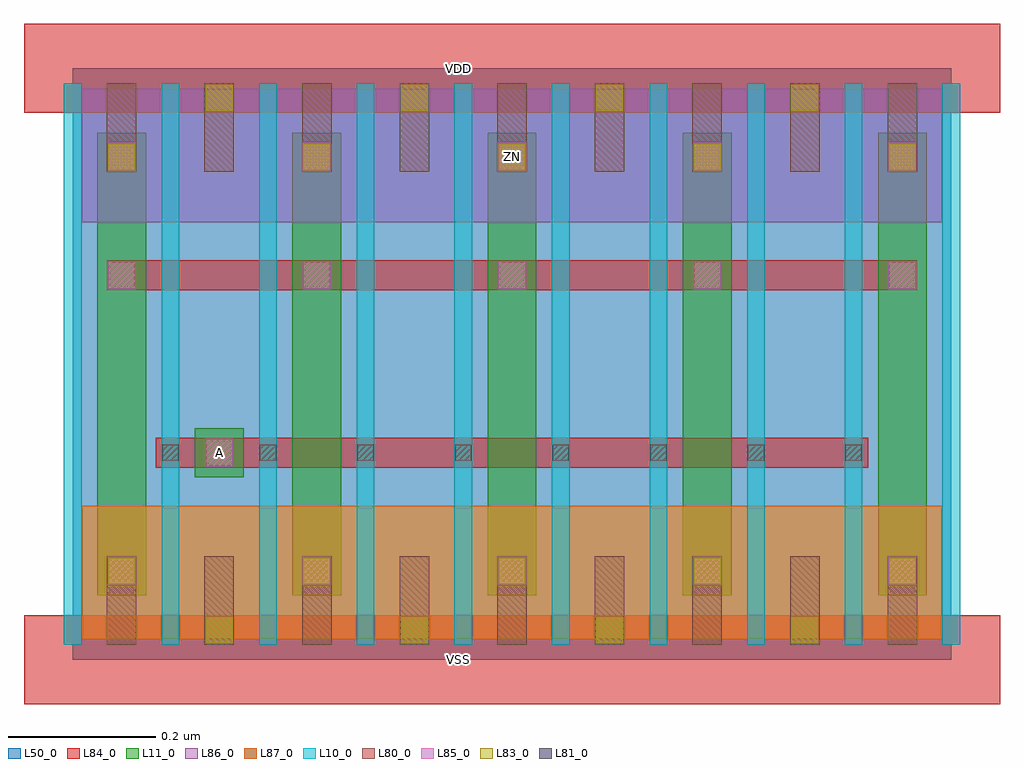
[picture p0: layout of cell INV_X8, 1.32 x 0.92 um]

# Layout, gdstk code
import gdstk
lib = gdstk.Library(unit=1e-6, precision=1e-09)
def R(c, l, rs):  # rectangles x0, y0, x1, y1
    for r in rs: c.add(gdstk.rectangle(r[:2], r[2:], *l))
def A(c, l, x, y, w, h, nx, ny, dx, dy):  # array of equal rectangles
    R(c, l, [(x+i*dx, y+j*dy, x+i*dx+w, y+j*dy+h) for i in range(nx) for j in range(ny)])
L10_0 = (10, 0)
L11_0 = (11, 0)
L50_0 = (50, 0)
L80_0 = (80, 0)
L81_0 = (81, 0)
L83_0 = (83, 0)
L84_0 = (84, 0)
L85_0 = (85, 0)
L86_0 = (86, 0)
L87_0 = (87, 0)

inv_x8 = lib.new_cell('INV_X8')
A(inv_x8, L10_0, -0.012, 0.02, 0.024, 0.76, 5, 1, 0.132, 0)
A(inv_x8, L10_0, 0.648, 0.02, 0.024, 0.76, 5, 1, 0.132, 0)
R(inv_x8, L10_0, [(0.516,0.02,0.54,0.78), (0.648,0.02,0.672,0.78)])
A(inv_x8, L11_0, 0.033, 0.087, 0.066, 0.626, 3, 1, 0.264, 0)
A(inv_x8, L11_0, 0.561, 0.087, 0.066, 0.626, 3, 1, 0.264, 0)
R(inv_x8, L11_0, [(0.165,0.247,0.231,0.313)])
R(inv_x8, L50_0, [(0,0,1.188,0.8)])
A(inv_x8, L80_0, 0.046, 0.02, 0.04, 0.12, 5, 2, 0.132, 0.64)
A(inv_x8, L80_0, 0.574, 0.02, 0.04, 0.12, 5, 2, 0.132, 0.64)
A(inv_x8, L81_0, 0.121, 0.269, 0.022, 0.022, 8, 1, 0.132, 0)
A(inv_x8, L83_0, 0.18, 0.022, 0.036, 0.036, 4, 2, 0.264, 0.72)
A(inv_x8, L83_0, 0.048, 0.102, 0.036, 0.036, 3, 2, 0.264, 0.56)
A(inv_x8, L83_0, 0.576, 0.102, 0.036, 0.036, 3, 2, 0.264, 0.56)
A(inv_x8, L84_0, 0.046, 0.1, 0.04, 0.04, 3, 2, 0.264, 0.56)
A(inv_x8, L84_0, 0.574, 0.1, 0.04, 0.04, 3, 2, 0.264, 0.56)
R(inv_x8, L84_0, [(-0.066,-0.06,0.726,0.06), (0.462,-0.06,1.254,0.06), (0.112,0.26,0.482,0.3), (0.411,0.26,1.076,0.3), (0.046,0.5,0.614,0.54), (0.574,0.5,1.142,0.54), (-0.066,0.74,0.726,0.86), (0.462,0.74,1.254,0.86)])
A(inv_x8, L85_0, 0.047, 0.101, 0.038, 0.038, 3, 2, 0.264, 0.4)
A(inv_x8, L85_0, 0.575, 0.101, 0.038, 0.038, 3, 2, 0.264, 0.4)
A(inv_x8, L85_0, 0.047, 0.661, 0.038, 0.038, 3, 1, 0.264, 0)
A(inv_x8, L85_0, 0.575, 0.661, 0.038, 0.038, 3, 1, 0.264, 0)
R(inv_x8, L85_0, [(0.179,0.261,0.217,0.299)])
R(inv_x8, L86_0, [(0.012,0.592,0.648,0.772), (0.54,0.592,1.176,0.772)])
R(inv_x8, L87_0, [(0.012,0.028,0.648,0.208), (0.54,0.028,1.176,0.208)])
inv_x8.add(gdstk.Label('VSS', (0.522,0), layer=88, texttype=0))
inv_x8.add(gdstk.Label('VDD', (0.522,0.8), layer=88, texttype=0))
inv_x8.add(gdstk.Label('A', (0.198,0.28), layer=31, texttype=0))
inv_x8.add(gdstk.Label('ZN', (0.594,0.68), layer=31, texttype=0))

lib.write_gds('INV_X8.gds')
